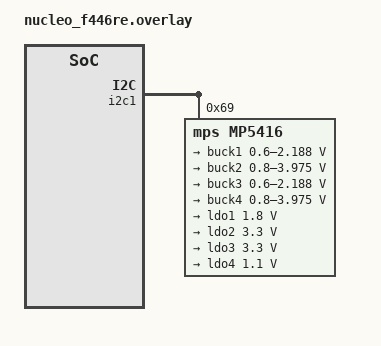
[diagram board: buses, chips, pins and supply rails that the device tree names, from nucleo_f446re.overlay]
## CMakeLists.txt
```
cmake_minimum_required(VERSION 4.0)

find_package(Zephyr REQUIRED HINTS $ENV{ZEPHYR_BASE})
project(regulator_mp5416)

target_sources(app PRIVATE src/main.c)
```

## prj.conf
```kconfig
CONFIG_I2C=y
CONFIG_REGULATOR=y
CONFIG_REGULATOR_MP5416=y
CONFIG_LOG=y
```

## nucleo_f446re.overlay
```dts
&i2c1 {
    status = "okay";

    mp5416@69 {
        compatible = "mps,mp5416";
        reg = <0x69>;
        #address-cells = <1>;
        #size-cells = <0>;

        buck1: buck1 {
            regulator-name = "buck1";
            regulator-min-microvolt = <600000>;
            regulator-max-microvolt = <2187500>;
            status = "okay";
        };

        buck2: buck2 {
            regulator-name = "buck2";
            regulator-min-microvolt = <800000>;
            regulator-max-microvolt = <3975000>;
            status = "okay";
        };

        buck3: buck3 {
            regulator-name = "buck3";
            regulator-min-microvolt = <600000>;
            regulator-max-microvolt = <2187500>;
            status = "okay";
        };

        buck4: buck4 {
            regulator-name = "buck4";
            regulator-min-microvolt = <800000>;
            regulator-max-microvolt = <3975000>;
            status = "okay";
        };

        ldo1: ldo1 {
            regulator-name = "ldo1";
            regulator-min-microvolt = <1800000>;
            regulator-max-microvolt = <1800000>;
            status = "okay";
        };

        ldo2: ldo2 {
            regulator-name = "ldo2";
            regulator-min-microvolt = <3300000>;
            regulator-max-microvolt = <3300000>;
            status = "okay";
        };

        ldo3: ldo3 {
            regulator-name = "ldo3";
            regulator-min-microvolt = <3300000>;
            regulator-max-microvolt = <3300000>;
            status = "okay";
        };

        ldo4: ldo4 {
            regulator-name = "ldo4";
            regulator-min-microvolt = <1100000>;
            regulator-max-microvolt = <1100000>;
            status = "okay";
        };

        
    };
};
```

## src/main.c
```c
#include <zephyr/kernel.h>
#include <zephyr/device.h>
#include <zephyr/drivers/regulator.h>
#include <zephyr/logging/log.h>

LOG_MODULE_REGISTER(main, LOG_LEVEL_INF);

#define BUCK1_NODE DT_NODELABEL(buck1)
#define BUCK2_NODE DT_NODELABEL(buck2)
#define BUCK3_NODE DT_NODELABEL(buck3)
#define BUCK4_NODE DT_NODELABEL(buck4)
#define LDO1_NODE  DT_NODELABEL(ldo1)
#define LDO2_NODE  DT_NODELABEL(ldo2)
#define LDO3_NODE  DT_NODELABEL(ldo3)
#define LDO4_NODE  DT_NODELABEL(ldo4)

static void setup_regulator(const struct device *dev, const char *name, int32_t min_uv, int32_t max_uv)
{
    int ret;
    int32_t actual_uv;

    if (!device_is_ready(dev)) {
        LOG_ERR("%s not ready", name);
        return;
    }

    LOG_INF("%s is ready", name);

    ret = regulator_enable(dev);
    if (ret) {
        LOG_ERR("Failed to enable %s (err %d)", name, ret);
        return;
    }

    ret = regulator_set_voltage(dev, min_uv, max_uv);
    if (ret) {
        LOG_ERR("Failed to set voltage for %s (err %d)", name, ret);
        return;
    }

    ret = regulator_get_voltage(dev, &actual_uv);
    if (ret) {
        LOG_ERR("Failed to get voltage for %s (err %d)", name, ret);
        return;
    }

    LOG_INF("%s voltage set to %d uV", name, actual_uv);

    k_sleep(K_SECONDS(5));
}

void main(void)
{
    LOG_INF("MP5416 Regulator Initialization");

    setup_regulator(DEVICE_DT_GET(BUCK1_NODE), "BUCK1", 1200000, 1200000);
    setup_regulator(DEVICE_DT_GET(BUCK2_NODE), "BUCK2", 1500000, 1500000);
    setup_regulator(DEVICE_DT_GET(BUCK3_NODE), "BUCK3", 1800000, 1800000);
    setup_regulator(DEVICE_DT_GET(BUCK4_NODE), "BUCK4", 3300000, 3300000);

    setup_regulator(DEVICE_DT_GET(LDO1_NODE),  "LDO1", 1800000, 1800000);
    setup_regulator(DEVICE_DT_GET(LDO2_NODE),  "LDO2", 3300000, 3300000);
    setup_regulator(DEVICE_DT_GET(LDO3_NODE),  "LDO3", 3300000, 3300000);
    setup_regulator(DEVICE_DT_GET(LDO4_NODE),  "LDO4", 1100000, 1100000);

    LOG_INF("MP5416 configuration done");
}
```
